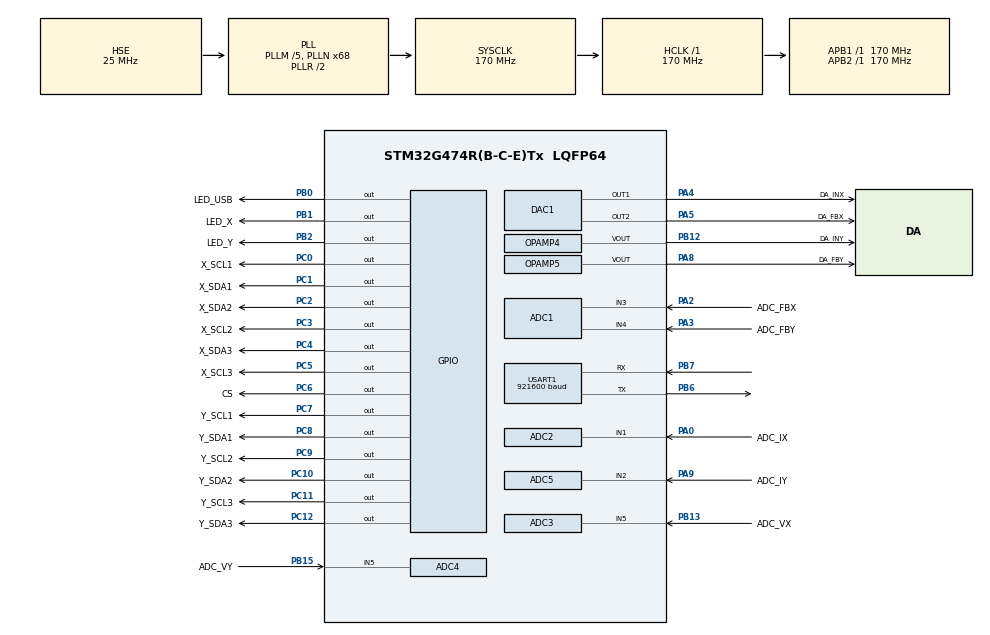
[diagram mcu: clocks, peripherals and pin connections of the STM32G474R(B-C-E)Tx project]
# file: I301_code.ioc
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ADC1.Channel-0\#ChannelRegularConversion=ADC_CHANNEL_3
ADC1.Channel-1\#ChannelRegularConversion=ADC_CHANNEL_4
ADC1.ClockPrescaler=ADC_CLOCK_ASYNC_DIV1
ADC1.DMAContinuousRequests=ENABLE
ADC1.ExternalTrigConv=ADC_EXTERNALTRIG_T3_TRGO
ADC1.NbrOfConversion=2
ADC1.NbrOfConversionFlag=1
ADC1.OffsetNumber-0\#ChannelRegularConversion=ADC_OFFSET_NONE
ADC1.OffsetNumber-1\#ChannelRegularConversion=ADC_OFFSET_NONE
ADC1.Rank-0\#ChannelRegularConversion=1
ADC1.Rank-1\#ChannelRegularConversion=2
ADC1.SamplingTime-0\#ChannelRegularConversion=ADC_SAMPLETIME_2CYCLES_5
ADC1.SamplingTime-1\#ChannelRegularConversion=ADC_SAMPLETIME_2CYCLES_5
ADC1.master=1
ADC2.Channel-0\#ChannelRegularConversion=ADC_CHANNEL_1
ADC2.ClockPrescaler=ADC_CLOCK_ASYNC_DIV1
ADC2.DMAContinuousRequests=ENABLE
ADC2.ExternalTrigConv=ADC_EXTERNALTRIG_T3_TRGO
ADC2.NbrOfConversionFlag=1
ADC2.OffsetNumber-0\#ChannelRegularConversion=ADC_OFFSET_NONE
ADC2.Rank-0\#ChannelRegularConversion=1
ADC2.SamplingTime-0\#ChannelRegularConversion=ADC_SAMPLETIME_2CYCLES_5
ADC3.Channel-0\#ChannelRegularConversion=ADC_CHANNEL_5
ADC3.ClockPrescaler=ADC_CLOCK_ASYNC_DIV1
ADC3.DMAContinuousRequests=ENABLE
ADC3.ExternalTrigConv=ADC_EXTERNALTRIG_T3_TRGO
ADC3.NbrOfConversionFlag=1
ADC3.OffsetNumber-0\#ChannelRegularConversion=ADC_OFFSET_NONE
ADC3.Rank-0\#ChannelRegularConversion=1
ADC3.SamplingTime-0\#ChannelRegularConversion=ADC_SAMPLETIME_2CYCLES_5
ADC3.master=1
ADC4.Channel-1\#ChannelRegularConversion=ADC_CHANNEL_5
ADC4.ClockPrescaler=ADC_CLOCK_ASYNC_DIV1
ADC4.DMAContinuousRequests=ENABLE
ADC4.ExternalTrigConv=ADC_EXTERNALTRIG_T3_TRGO
ADC4.NbrOfConversionFlag=1
ADC4.OffsetNumber-1\#ChannelRegularConversion=ADC_OFFSET_NONE
ADC4.Rank-1\#ChannelRegularConversion=1
ADC4.SamplingTime-1\#ChannelRegularConversion=ADC_SAMPLETIME_2CYCLES_5
ADC5.Channel-0\#ChannelRegularConversion=ADC_CHANNEL_2
ADC5.ClockPrescaler=ADC_CLOCK_ASYNC_DIV1
ADC5.DMAContinuousRequests=ENABLE
ADC5.ExternalTrigConv=ADC_EXTERNALTRIG_T3_TRGO
ADC5.NbrOfConversionFlag=1
ADC5.OffsetNumber-0\#ChannelRegularConversion=ADC_OFFSET_NONE
ADC5.Rank-0\#ChannelRegularConversion=1
ADC5.SamplingTime-0\#ChannelRegularConversion=ADC_SAMPLETIME_2CYCLES_5
DAC1.DAC_Channel-DAC_OUT2=DAC_CHANNEL_2
DAC1.DAC_HighFrequency_OUT1-DAC_OUT1=DAC_HIGH_FREQUENCY_INTERFACE_MODE_ABOVE_160MHZ
DAC1.DAC_OutputBuffer-DAC_OUT1=DAC_OUTPUTBUFFER_DISABLE
DAC1.DAC_OutputBuffer-DAC_OUT2=DAC_OUTPUTBUFFER_DISABLE
DAC1.DAC_Trigger_OUT1-DAC_OUT1=DAC_TRIGGER_NONE
DAC1.DAC_Trigger_OUT2-DAC_OUT2=DAC_TRIGGER_NONE
DAC4.DAC_Channel-DAC_OUT2_Int=DAC_CHANNEL_2
DAC4.DAC_HighFrequency_OUT1-DAC_OUT1_Int=DAC_HIGH_FREQUENCY_INTERFACE_MODE_ABOVE_160MHZ
Dma.ADC1.4.Direction=DMA_PERIPH_TO_MEMORY
Dma.ADC1.4.EventEnable=DISABLE
Dma.ADC1.4.Instance=DMA2_Channel1
Dma.ADC1.4.MemDataAlignment=DMA_MDATAALIGN_HALFWORD
Dma.ADC1.4.MemInc=DMA_MINC_ENABLE
Dma.ADC1.4.Mode=DMA_CIRCULAR
Dma.ADC1.4.PeriphDataAlignment=DMA_PDATAALIGN_HALFWORD
Dma.ADC1.4.PeriphInc=DMA_PINC_DISABLE
Dma.ADC1.4.Polarity=HAL_DMAMUX_REQ_GEN_RISING
Dma.ADC1.4.Priority=DMA_PRIORITY_MEDIUM
Dma.ADC1.4.RequestNumber=1
Dma.ADC1.4.SignalID=NONE
Dma.ADC1.4.SyncEnable=DISABLE
Dma.ADC1.4.SyncPolarity=HAL_DMAMUX_SYNC_NO_EVENT
Dma.ADC1.4.SyncRequestNumber=1
Dma.ADC1.4.SyncSignalID=NONE
Dma.ADC2.2.Direction=DMA_PERIPH_TO_MEMORY
Dma.ADC2.2.EventEnable=DISABLE
Dma.ADC2.2.Instance=DMA1_Channel2
Dma.ADC2.2.MemDataAlignment=DMA_MDATAALIGN_HALFWORD
Dma.ADC2.2.MemInc=DMA_MINC_ENABLE
Dma.ADC2.2.Mode=DMA_CIRCULAR
Dma.ADC2.2.PeriphDataAlignment=DMA_PDATAALIGN_HALFWORD
Dma.ADC2.2.PeriphInc=DMA_PINC_DISABLE
Dma.ADC2.2.Polarity=HAL_DMAMUX_REQ_GEN_RISING
Dma.ADC2.2.Priority=DMA_PRIORITY_HIGH
Dma.ADC2.2.RequestNumber=1
Dma.ADC2.2.SignalID=NONE
Dma.ADC2.2.SyncEnable=DISABLE
Dma.ADC2.2.SyncPolarity=HAL_DMAMUX_SYNC_NO_EVENT
Dma.ADC2.2.SyncRequestNumber=1
Dma.ADC2.2.SyncSignalID=NONE
Dma.ADC3.0.Direction=DMA_PERIPH_TO_MEMORY
Dma.ADC3.0.EventEnable=DISABLE
Dma.ADC3.0.Instance=DMA1_Channel1
Dma.ADC3.0.MemDataAlignment=DMA_MDATAALIGN_HALFWORD
Dma.ADC3.0.MemInc=DMA_MINC_ENABLE
Dma.ADC3.0.Mode=DMA_CIRCULAR
Dma.ADC3.0.PeriphDataAlignment=DMA_PDATAALIGN_HALFWORD
Dma.ADC3.0.PeriphInc=DMA_PINC_DISABLE
Dma.ADC3.0.Polarity=HAL_DMAMUX_REQ_GEN_RISING
Dma.ADC3.0.Priority=DMA_PRIORITY_HIGH
Dma.ADC3.0.RequestNumber=1
Dma.ADC3.0.SignalID=NONE
Dma.ADC3.0.SyncEnable=DISABLE
Dma.ADC3.0.SyncPolarity=HAL_DMAMUX_SYNC_NO_EVENT
Dma.ADC3.0.SyncRequestNumber=1
Dma.ADC3.0.SyncSignalID=NONE
Dma.ADC4.1.Direction=DMA_PERIPH_TO_MEMORY
Dma.ADC4.1.EventEnable=DISABLE
Dma.ADC4.1.Instance=DMA1_Channel4
Dma.ADC4.1.MemDataAlignment=DMA_MDATAALIGN_HALFWORD
Dma.ADC4.1.MemInc=DMA_MINC_ENABLE
Dma.ADC4.1.Mode=DMA_CIRCULAR
Dma.ADC4.1.PeriphDataAlignment=DMA_PDATAALIGN_HALFWORD
Dma.ADC4.1.PeriphInc=DMA_PINC_DISABLE
Dma.ADC4.1.Polarity=HAL_DMAMUX_REQ_GEN_RISING
Dma.ADC4.1.Priority=DMA_PRIORITY_HIGH
Dma.ADC4.1.RequestNumber=1
Dma.ADC4.1.SignalID=NONE
Dma.ADC4.1.SyncEnable=DISABLE
Dma.ADC4.1.SyncPolarity=HAL_DMAMUX_SYNC_NO_EVENT
Dma.ADC4.1.SyncRequestNumber=1
Dma.ADC4.1.SyncSignalID=NONE
Dma.ADC5.3.Direction=DMA_PERIPH_TO_MEMORY
Dma.ADC5.3.EventEnable=DISABLE
Dma.ADC5.3.Instance=DMA1_Channel3
Dma.ADC5.3.MemDataAlignment=DMA_MDATAALIGN_HALFWORD
Dma.ADC5.3.MemInc=DMA_MINC_ENABLE
Dma.ADC5.3.Mode=DMA_CIRCULAR
Dma.ADC5.3.PeriphDataAlignment=DMA_PDATAALIGN_HALFWORD
Dma.ADC5.3.PeriphInc=DMA_PINC_DISABLE
Dma.ADC5.3.Polarity=HAL_DMAMUX_REQ_GEN_RISING
Dma.ADC5.3.Priority=DMA_PRIORITY_HIGH
Dma.ADC5.3.RequestNumber=1
Dma.ADC5.3.SignalID=NONE
Dma.ADC5.3.SyncEnable=DISABLE
Dma.ADC5.3.SyncPolarity=HAL_DMAMUX_SYNC_NO_EVENT
Dma.ADC5.3.SyncRequestNumber=1
Dma.ADC5.3.SyncSignalID=NONE
Dma.Request0=ADC3
Dma.Request1=ADC4
Dma.Request2=ADC2
Dma.Request3=ADC5
Dma.Request4=ADC1
Mcu.Family=STM32G4
Mcu.Name=STM32G474R(B-C-E)Tx
Mcu.Package=LQFP64
NVIC.DMA1_Channel1_IRQn=true\:0\:0\:false\:false\:true\:false\:true\:true
NVIC.DMA1_Channel2_IRQn=true\:0\:0\:false\:false\:true\:false\:true\:true
NVIC.DMA1_Channel3_IRQn=true\:0\:0\:false\:false\:true\:false\:true\:true
NVIC.DMA1_Channel4_IRQn=true\:0\:0\:false\:false\:true\:false\:true\:true
NVIC.DMA2_Channel1_IRQn=true\:0\:0\:false\:false\:true\:false\:true\:true
NVIC.PriorityGroup=NVIC_PRIORITYGROUP_4
NVIC.TIM2_IRQn=true\:0\:0\:false\:false\:true\:true\:true\:true
OPAMP4.PowerMode=OPAMP_POWERMODE_HIGHSPEED
OPAMP5.PowerMode=OPAMP_POWERMODE_HIGHSPEED
PA0.GPIO_Label=ADC_IX
PA0.GPIO_Pd=GPIO_PULLDOWN
PA0.Mode=IN1-Single-Ended
PA0.Signal=ADC2_IN1
PA13.Mode=Serial_Wire
PA13.Signal=SYS_JTMS-SWDIO
PA14.Mode=Serial_Wire
PA14.Signal=SYS_JTCK-SWCLK
PA2.GPIO_Label=ADC_FBX
PA2.GPIO_Pd=GPIO_PULLDOWN
PA2.Mode=IN3-Single-Ended
PA2.Signal=ADC1_IN3
PA3.GPIO_Label=ADC_FBY
PA3.GPIO_Pd=GPIO_PULLDOWN
PA3.Mode=IN4-Single-Ended
PA3.Signal=ADC1_IN4
PA4.GPIO_Label=DA_INX
PA4.Signal=COMP_DAC11_group
PA5.GPIO_Label=DA_FBX
PA5.Signal=COMP_DAC12_group
PA8.GPIO_Label=DA_FBY
PA8.GPIO_Pd=GPIO_PULLDOWN
PA8.Mode=Follower-DAC_OUT2-INP
PA8.Signal=OPAMP5_VOUT
PA9.GPIO_Label=ADC_IY
PA9.GPIO_Pd=GPIO_PULLDOWN
PA9.Mode=IN2-Single-Ended
PA9.Signal=ADC5_IN2
PB0.GPIO_Label=LED_USB
PB0.GPIO_PuPd=GPIO_PULLUP
PB0.PinState=GPIO_PIN_SET
PB0.Signal=GPIO_Output
PB1.GPIO_Label=LED_X
PB1.GPIO_PuPd=GPIO_PULLUP
PB1.PinState=GPIO_PIN_SET
PB1.Signal=GPIO_Output
PB12.GPIO_Label=DA_INY
PB12.GPIO_Pd=GPIO_PULLDOWN
PB12.Mode=Follower-DAC_OUT2-INP
PB12.Signal=OPAMP4_VOUT
PB13.GPIO_Label=ADC_VX
PB13.GPIO_Pd=GPIO_PULLDOWN
PB13.Mode=IN5-Single-Ended
PB13.Signal=ADC3_IN5
PB15.GPIO_Label=ADC_VY
PB15.GPIO_Pd=GPIO_PULLDOWN
PB15.Mode=IN5-Single-Ended
PB15.Signal=ADC4_IN5
PB2.GPIO_Label=LED_Y
PB2.GPIO_PuPd=GPIO_PULLUP
PB2.PinState=GPIO_PIN_SET
PB2.Signal=GPIO_Output
PB6.Mode=Asynchronous
PB6.Signal=USART1_TX
PB7.Mode=Asynchronous
PB7.Signal=USART1_RX
PC0.GPIO_Label=X_SCL1
PC0.GPIO_PuPd=GPIO_PULLUP
PC0.GPIO_Speed=GPIO_SPEED_FREQ_HIGH
PC0.PinState=GPIO_PIN_RESET
PC0.Signal=GPIO_Output
PC1.GPIO_Label=X_SDA1
PC1.GPIO_PuPd=GPIO_PULLUP
PC1.GPIO_Speed=GPIO_SPEED_FREQ_HIGH
PC1.PinState=GPIO_PIN_SET
PC1.Signal=GPIO_Output
PC10.GPIO_Label=Y_SDA2
PC10.GPIO_PuPd=GPIO_PULLUP
PC10.GPIO_Speed=GPIO_SPEED_FREQ_HIGH
PC10.PinState=GPIO_PIN_SET
PC10.Signal=GPIO_Output
PC11.GPIO_Label=Y_SCL3
PC11.GPIO_PuPd=GPIO_PULLUP
PC11.GPIO_Speed=GPIO_SPEED_FREQ_HIGH
PC11.PinState=GPIO_PIN_RESET
PC11.Signal=GPIO_Output
PC12.GPIO_Label=Y_SDA3
PC12.GPIO_PuPd=GPIO_PULLUP
PC12.GPIO_Speed=GPIO_SPEED_FREQ_HIGH
PC12.PinState=GPIO_PIN_SET
PC12.Signal=GPIO_Output
PC2.GPIO_Label=X_SDA2
PC2.GPIO_PuPd=GPIO_PULLUP
PC2.GPIO_Speed=GPIO_SPEED_FREQ_HIGH
PC2.PinState=GPIO_PIN_SET
PC2.Signal=GPIO_Output
PC3.GPIO_Label=X_SCL2
PC3.GPIO_PuPd=GPIO_PULLUP
PC3.GPIO_Speed=GPIO_SPEED_FREQ_HIGH
PC3.PinState=GPIO_PIN_RESET
PC3.Signal=GPIO_Output
PC4.GPIO_Label=X_SDA3
PC4.GPIO_PuPd=GPIO_PULLUP
PC4.GPIO_Speed=GPIO_SPEED_FREQ_HIGH
PC4.PinState=GPIO_PIN_SET
PC4.Signal=GPIO_Output
PC5.GPIO_Label=X_SCL3
PC5.GPIO_PuPd=GPIO_PULLUP
PC5.GPIO_Speed=GPIO_SPEED_FREQ_HIGH
PC5.PinState=GPIO_PIN_RESET
PC5.Signal=GPIO_Output
PC6.GPIO_Label=CS
PC6.GPIO_PuPd=GPIO_PULLUP
PC6.GPIO_Speed=GPIO_SPEED_FREQ_HIGH
PC6.PinState=GPIO_PIN_SET
PC6.Signal=GPIO_Output
PC7.GPIO_Label=Y_SCL1
PC7.GPIO_PuPd=GPIO_PULLUP
PC7.GPIO_Speed=GPIO_SPEED_FREQ_HIGH
PC7.PinState=GPIO_PIN_RESET
PC7.Signal=GPIO_Output
PC8.GPIO_Label=Y_SDA1
PC8.GPIO_PuPd=GPIO_PULLUP
PC8.GPIO_Speed=GPIO_SPEED_FREQ_HIGH
PC8.PinState=GPIO_PIN_SET
PC8.Signal=GPIO_Output
PC9.GPIO_Label=Y_SCL2
PC9.GPIO_PuPd=GPIO_PULLUP
PC9.GPIO_Speed=GPIO_SPEED_FREQ_HIGH
PC9.PinState=GPIO_PIN_RESET
PC9.Signal=GPIO_Output
PF0-OSC_IN.Mode=HSE-External-Oscillator
PF0-OSC_IN.Signal=RCC_OSC_IN
PF1-OSC_OUT.Mode=HSE-External-Oscillator
PF1-OSC_OUT.Signal=RCC_OSC_OUT
ProjectManager.HeapSize=0x200
ProjectManager.StackSize=0x400
ProjectManager.TargetToolchain=MDK-ARM V5.32
RCC.ADC12Freq_Value=170000000
RCC.ADC345CLockSelection=RCC_ADC345CLKSOURCE_PLL
RCC.ADC345Freq_Value=56666666.666666664
RCC.AHBFreq_Value=170000000
RCC.APB1Freq_Value=170000000
RCC.APB1TimFreq_Value=170000000
RCC.APB2Freq_Value=170000000
RCC.APB2TimFreq_Value=170000000
RCC.CK48CLockSelection=RCC_USBCLKSOURCE_HSI48
RCC.CortexFreq_Value=170000000
RCC.EXTERNAL_CLOCK_VALUE=12288000
RCC.HCLKFreq_Value=170000000
RCC.HSE_VALUE=25000000
RCC.HSI48_VALUE=48000000
RCC.HSI_VALUE=16000000
RCC.LSE_VALUE=32768
RCC.PLLM=RCC_PLLM_DIV5
RCC.PLLN=68
RCC.PLLP=RCC_PLLP_DIV6
RCC.PLLQ=RCC_PLLQ_DIV4
RCC.PLLSourceVirtual=RCC_PLLSOURCE_HSE
RCC.SYSCLKFreq_VALUE=170000000
RCC.SYSCLKSource=RCC_SYSCLKSOURCE_PLLCLK
RCC.USBFreq_Value=48000000
RCC.VCOOutputFreq_Value=340000000
SH.COMP_DAC11_group.0=DAC1_OUT1,DAC_OUT1
SH.COMP_DAC12_group.0=DAC1_OUT2,DAC_OUT2
TIM2.PeriodNoDither=100-1
TIM2.Prescaler=1700-1
TIM2.TIM_MasterOutputTrigger=TIM_TRGO_UPDATE
TIM3.PeriodNoDither=85-1
TIM3.Prescaler=2-1
TIM3.TIM_MasterOutputTrigger=TIM_TRGO_UPDATE
USART1.BaudRate=921600
USART1.VirtualMode-Asynchronous=VM_ASYNC
VP_DAC4_VS_DACI1.Mode=DAC_OUT1_Int
VP_DAC4_VS_DACI2.Mode=DAC_OUT2_Int
VP_SYS_VS_DBSignals.Mode=DisableDeadBatterySignals
VP_SYS_V_VREFBUF.Mode=ExternalMode
VP_TIM2_VS_ClockSourceINT.Mode=Internal
VP_TIM3_VS_ClockSourceINT.Mode=Internal
board=custom

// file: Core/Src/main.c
/* USER CODE BEGIN Header */
/**
  ******************************************************************************
  * @file           : main.c
  * @brief          : Main program body
  ******************************************************************************
  * @attention
  *
  * Copyright (c) 2026 STMicroelectronics.
  * All rights reserved.
  *
  * This software is licensed under terms that can be found in the LICENSE file
  * in the root directory of this software component.
  * If no LICENSE file comes with this software, it is provided AS-IS.
  *
  ******************************************************************************
  */
/* USER CODE END Header */
#include "main.h"
#include "adc.h"
#include "dac.h"
#include "dma.h"
#include "opamp.h"
#include "tim.h"
#include "usart.h"
#include "gpio.h"

/* USER CODE BEGIN Includes */
#include "ad_da.h"
#include "param.h"
#include "ocd.h"
#include "ocd_sig.h"
#include "ls_proto_device_app.h"
#include "port_pipe.h"
#include "port_trans.h"
#include "port_tick.h"

/* USER CODE END Includes */

void SystemClock_Config(void);

int main(void)
{

  /* MCU Configuration--------------------------------------------------------*/

  /* Reset of all peripherals, Initializes the Flash interface and the Systick. */
  HAL_Init();

  /* Configure the system clock */
  SystemClock_Config();

  /* Initialize all configured peripherals */
  MX_GPIO_Init();
  MX_DMA_Init();
  MX_USART1_UART_Init();
  MX_DAC1_Init();
  MX_ADC3_Init();
  MX_ADC4_Init();
  MX_ADC2_Init();
  MX_TIM3_Init();
  MX_ADC5_Init();
  MX_DAC4_Init();
  MX_OPAMP4_Init();
  MX_OPAMP5_Init();
  MX_ADC1_Init();
  MX_TIM2_Init();
  /* USER CODE BEGIN 2 */
  LOG_SYS_INFO("===================================================");
  ad5290_set_init();
  port_trans_init();   /* USB 设备栈初始化(原 MX_USB_DEVICE_Init 入契约) */
  ls_app_init();       /* 协议回调注册 */
  param_init();
  /* 启动 AD-DA 处理通路: 须在 param_init 之后, 使 comp 偏置首拍生效。
     算法槽须先于 port_pipe_init 装配(默认线性算法); OCD 包装在其后。
     硬件约束: JP3 必须断开(或外部 IN± 不接), 见 spec §3.2 */
  ad_da_process_fn_set(ad_da_process_linear);
  if (port_pipe_init() != 0)
  {
    Error_Handler();
  }
  ocd_init();   /* 软件过流检测(命令级干预): 受 OCD_ENABLE 宏门控(现=0, 空实现,
                   过流只由 ocd_sig 发信令、图像零改变); 须在管线启动之后 */
  ocd_sig_init();   /* 过流PWM信令: 最外层包装, 须在 ocd_init 之后 */

  /* 启动指示: LED_USB 闪 6 次、150ms 间隔(release 启动序列约定) */
  for (uint8_t i = 0; i < 6U; i++)
  {
    LED_USB_TOGGLE();
    port_delay_ms(150);
  }
  /* USER CODE END 2 */

  /* Infinite loop */
  /* USER CODE BEGIN WHILE */
  LOG_SYS_INFO("Build Time: %s  %s", __DATE__, __TIME__);
  while (1)
  {
    ls_app_poll();   /* 传输接收成帧 + 协议分发(经 port_trans 契约) */
    ls_app_force_watchdog_poll();   /* 强制套超时自解除(spec §6.1) */
    /* USER CODE END WHILE */

  }
}

void SystemClock_Config(void)
{
  RCC_OscInitTypeDef RCC_OscInitStruct = {0};
  RCC_ClkInitTypeDef RCC_ClkInitStruct = {0};

  /** Configure the main internal regulator output voltage
  */
  HAL_PWREx_ControlVoltageScaling(PWR_REGULATOR_VOLTAGE_SCALE1_BOOST);

  /** Initializes the RCC Oscillators according to the specified parameters
  * in the RCC_OscInitTypeDef structure.
  */
  RCC_OscInitStruct.OscillatorType = RCC_OSCILLATORTYPE_HSE;
  RCC_OscInitStruct.HSEState = RCC_HSE_ON;
  RCC_OscInitStruct.PLL.PLLState = RCC_PLL_ON;
  RCC_OscInitStruct.PLL.PLLSource = RCC_PLLSOURCE_HSE;
  RCC_OscInitStruct.PLL.PLLM = RCC_PLLM_DIV5;
  RCC_OscInitStruct.PLL.PLLN = 68;
  RCC_OscInitStruct.PLL.PLLP = RCC_PLLP_DIV6;
  RCC_OscInitStruct.PLL.PLLQ = RCC_PLLQ_DIV4;
  RCC_OscInitStruct.PLL.PLLR = RCC_PLLR_DIV2;
  if (HAL_RCC_OscConfig(&RCC_OscInitStruct) != HAL_OK)
  {
    Error_Handler();
  }

  /** Initializes the CPU, AHB and APB buses clocks
  */
  RCC_ClkInitStruct.ClockType = RCC_CLOCKTYPE_HCLK|RCC_CLOCKTYPE_SYSCLK
                              |RCC_CLOCKTYPE_PCLK1|RCC_CLOCKTYPE_PCLK2;
  RCC_ClkInitStruct.SYSCLKSource = RCC_SYSCLKSOURCE_PLLCLK;
  RCC_ClkInitStruct.AHBCLKDivider = RCC_SYSCLK_DIV1;
  RCC_ClkInitStruct.APB1CLKDivider = RCC_HCLK_DIV1;
  RCC_ClkInitStruct.APB2CLKDivider = RCC_HCLK_DIV1;

  if (HAL_RCC_ClockConfig(&RCC_ClkInitStruct, FLASH_LATENCY_4) != HAL_OK)
  {
    Error_Handler();
  }
}

void Error_Handler(void)
{
  __disable_irq();
  while (1)
  {
  }
}
